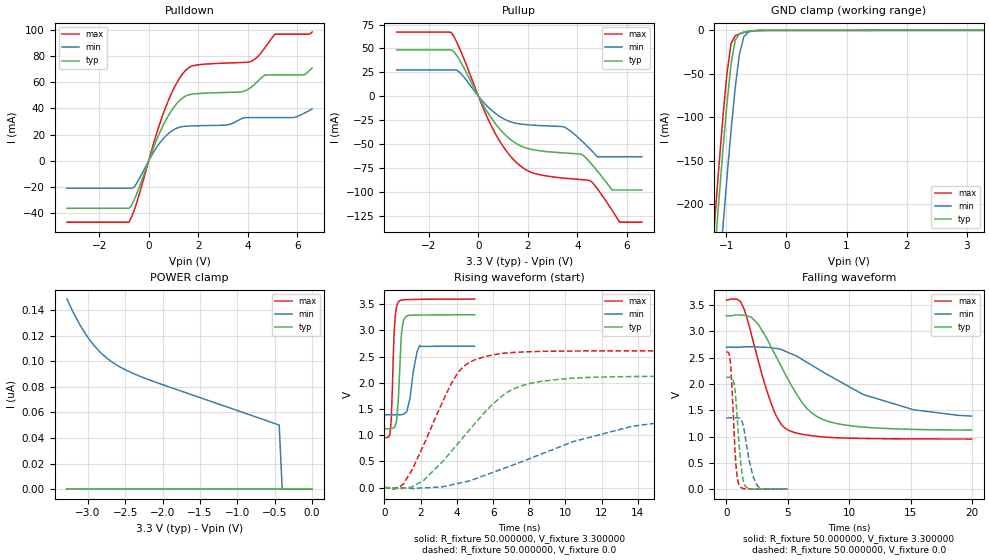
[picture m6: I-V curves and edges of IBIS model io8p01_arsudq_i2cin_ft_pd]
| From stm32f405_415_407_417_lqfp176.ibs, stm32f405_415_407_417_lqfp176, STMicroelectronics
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|   Model io8p01_arsudq_i2cin_ft_pd
[Model]  io8p01_arsudq_i2cin_ft_pd
Model_type I/O
Polarity   Non-Inverting
Enable   Active-Low
Vinl =   0.990000V
Vinh =   2.310000V
Vmeas =  1.650000V
Cref =   50.000000pF
Rref =   100.000000M
Vref =   0.0V
C_comp   2.280000pF   2.217100pF   2.355700pF
[Temperature Range]   25.000000   0.125000k   -40.000000
[Pullup Reference]   3.300000V   2.700000V   3.600000V
[Pulldown Reference]   0.0V   0.0V   0.0V
[POWER Clamp Reference]   3.300000V   2.700000V   3.600000V
[GND Clamp Reference]   0.0V   0.0V   0.0V
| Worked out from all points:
|   slope of the pulldown table from 0 to 0.495 V, typ, clamps not added: 20.9 ohm
|   slope of the pullup table from 0 to 0.495 V, typ, clamps not added: 22.6 ohm
|   GND clamp passes 1 mA (typ) near -0.62 V on its own axis
|   rising waveform, R_fixture 50.000000, V_fixture 3.300000: 20-80 % time 192ps typ, 342ps min, 165ps max; typ from 1.12 V to 3.3 V
|   rising waveform, R_fixture 50.000000, V_fixture 0.0: 20-80 % time 3.34ns typ, 6.91ns min, 2.09ns max; typ from 0 V to 2.13 V
|   falling waveform, R_fixture 50.000000, V_fixture 3.300000: 20-80 % time 3.18ns typ, 6.84ns min, 1.99ns max; typ from 3.3 V to 1.12 V
|   falling waveform, R_fixture 50.000000, V_fixture 0.0: 20-80 % time 433ps typ, 669ps min, 341ps max; typ from 2.13 V to 0 V
[Pulldown]
|Voltage   I(typ)   I(min)   I(max)
-3.3V     -36.46mA   -21.1mA    -47.09mA
-800mV    -36.46mA   -21.1mA    -47.09mA
-600mV    -30.5mA    -20.54mA   -38.69mA
700mV     31.4mA     19.11mA    41.71mA
1.2V      45.15mA    25.37mA    61.75mA
1.6V      50.35mA    26.5mA     71.06mA
3.1V      52.27mA    27.26mA    74.75mA
4.1V      55.7mA     32.99mA    75.8mA
4.7V      65.72mA    32.99mA    86.69mA
5.1V      65.72mA    32.99mA    96.9mA
6.3V      65.87mA    36.5mA     96.9mA
6.6V      70.93mA    39.71mA    98.5mA
[Pullup]
|Voltage   I(typ)   I(min)   I(max)
-3.3V     48.54mA    27.43mA    67.18mA
-1.1V     48.54mA    27.43mA    66.9mA
-700mV    35.13mA    23.47mA    46.35mA
500mV     -22.07mA   -14mA      -30.03mA
1.5V      -49.1mA    -28.3mA    -68.56mA
2.2V      -56.04mA   -30.32mA   -80.35mA
3.5V      -59.53mA   -32.65mA   -85.92mA
4.5V      -69.06mA   -55.12mA   -88.38mA
4.8V      -78.23mA   -63.4mA    -96.84mA
5.4V      -98.3mA    -63.4mA    -119.6mA
5.7V      -98.3mA    -63.4mA    -132mA
6.6V      -98.3mA    -63.4mA    -132mA
[GND_clamp]
|Voltage   I(typ)   I(min)   I(max)
-3.3V     -2.317A    -2.396A    -2.289A
-1.2V     -265.5mA   -356.1mA   -227.2mA
-1.13V    -202.7mA   -292.9mA   -164.1mA
-1.06V    -142.2mA   -231.2mA   -104.1mA
-990mV    -85.98mA   -171.6mA   -50.73mA
-920mV    -38.81mA   -115.5mA   -15.29mA
-850mV    -11.09mA   -65.61mA   -6.016mA
-780mV    -3.793mA   -27.42mA   -3.89mA
-710mV    -2.098mA   -7.698mA   -2.396mA
-640mV    -1.159mA   -2.127mA   -1.234mA
-570mV    -535.1uA   -807.4uA   -490.2uA
3.28V     81.28uA    57.87uA    93.98uA
[POWER_clamp]
|Voltage   I(typ)   I(min)   I(max)
-3.28V    0A         148.5nA    0A
-3.2V     0A         138.6nA    0A
-3.12V    0A         129.7nA    0A
-3.04V    0A         122nA      0A
-2.96V    0A         115.3nA    0A
-2.8V     0A         105.1nA    0A
-2.6V     0A         96.44nA    0A
-2.4V     0A         90.52nA    0A
-2.16V    0A         84.97nA    0A
-440mV    0A         50.04nA    0A
-400mV    0A         0A         0A
0V        0A         0A         0A
[Ramp]
| variable   typ   min   max
dV/dt_r  1.27680/3.33963n   0.79884/6.92139n   1.56642/2.09186n
dV/dt_f  1.30176/3.17659n   0.74082/6.80615n   1.58728/1.99167n
R_load = 50.000000
[Rising Waveform]
R_fixture= 50.000000
V_fixture= 3.300000
V_fixture_min= 2.700000
V_fixture_max= 3.600000
|time   V(typ)   V(min)   V(max)
0s        1.123V     1.391V     954mV
300.3ps   1.125V     1.391V     1.023V
370.4ps   1.127V     1.391V     1.299V
500.5ps   1.141V     1.391V     2.654V
590.6ps   1.184V     1.391V     3.261V
760.8ps   1.674V     1.389V     3.537V
930.9ps   2.891V     1.392V     3.579V
1.161ns   3.257V     1.43V      3.586V
1.952ns   3.293V     2.711V     3.593V
4.985ns   3.299V     2.699V     3.598V
[Rising Waveform]
R_fixture= 50.000000
V_fixture= 0.0
V_fixture_min= 0.0
V_fixture_max= 0.0
|time   V(typ)   V(min)   V(max)
0s        358.5uV    205.4uV    679.9uV
1.041ns   -11.38mV   -1.544mV   69.55mV
2.162ns   139.2mV    -2.105mV   815.1mV
3.844ns   754.7mV    64.45mV    2.076V
4.364ns   967.2mV    104.8mV    2.308V
5.005ns   1.228V     167.4mV    2.441V
6.687ns   1.799V     380.1mV    2.567V
8.609ns   2.025V     633.7mV    2.599V
13.69ns   2.12V      1.172V     2.61V
19.94ns   2.127V     1.357V     2.611V
[Falling Waveform]
R_fixture= 50.000000
V_fixture= 3.300000
V_fixture_min= 2.700000
V_fixture_max= 3.600000
|time   V(typ)   V(min)   V(max)
0s        3.299V     2.699V     3.598V
880.9ps   3.314V     2.699V     3.611V
1.441ns   3.308V     2.709V     3.425V
2.563ns   3.144V     2.705V     2.468V
3.684ns   2.684V     2.689V     1.605V
4.965ns   2.108V     2.606V     1.133V
6.567ns   1.531V     2.411V     1.03V
8.248ns   1.29V      2.176V     986.7mV
15.22ns   1.137V     1.512V     955.7mV
19.94ns   1.123V     1.391V     954mV
[Falling Waveform]
R_fixture= 50.000000
V_fixture= 0.0
V_fixture_min= 0.0
V_fixture_max= 0.0
|time   V(typ)   V(min)   V(max)
0s        2.127V     1.357V     2.611V
300.3ps   2.129V     1.357V     2.468V
450.5ps   2.118V     1.357V     1.945V
620.6ps   2.011V     1.357V     1.076V
830.8ps   1.514V     1.359V     315.9mV
1.041ns   822.5mV    1.352V     77.38mV
1.451ns   98.46mV    1.113V     8.261mV
1.842ns   12.41mV    552.6mV    3.657mV
2.563ns   1.923mV    48.1mV     1.941mV
4.985ns   358.5uV    205.4uV    679.9uV
